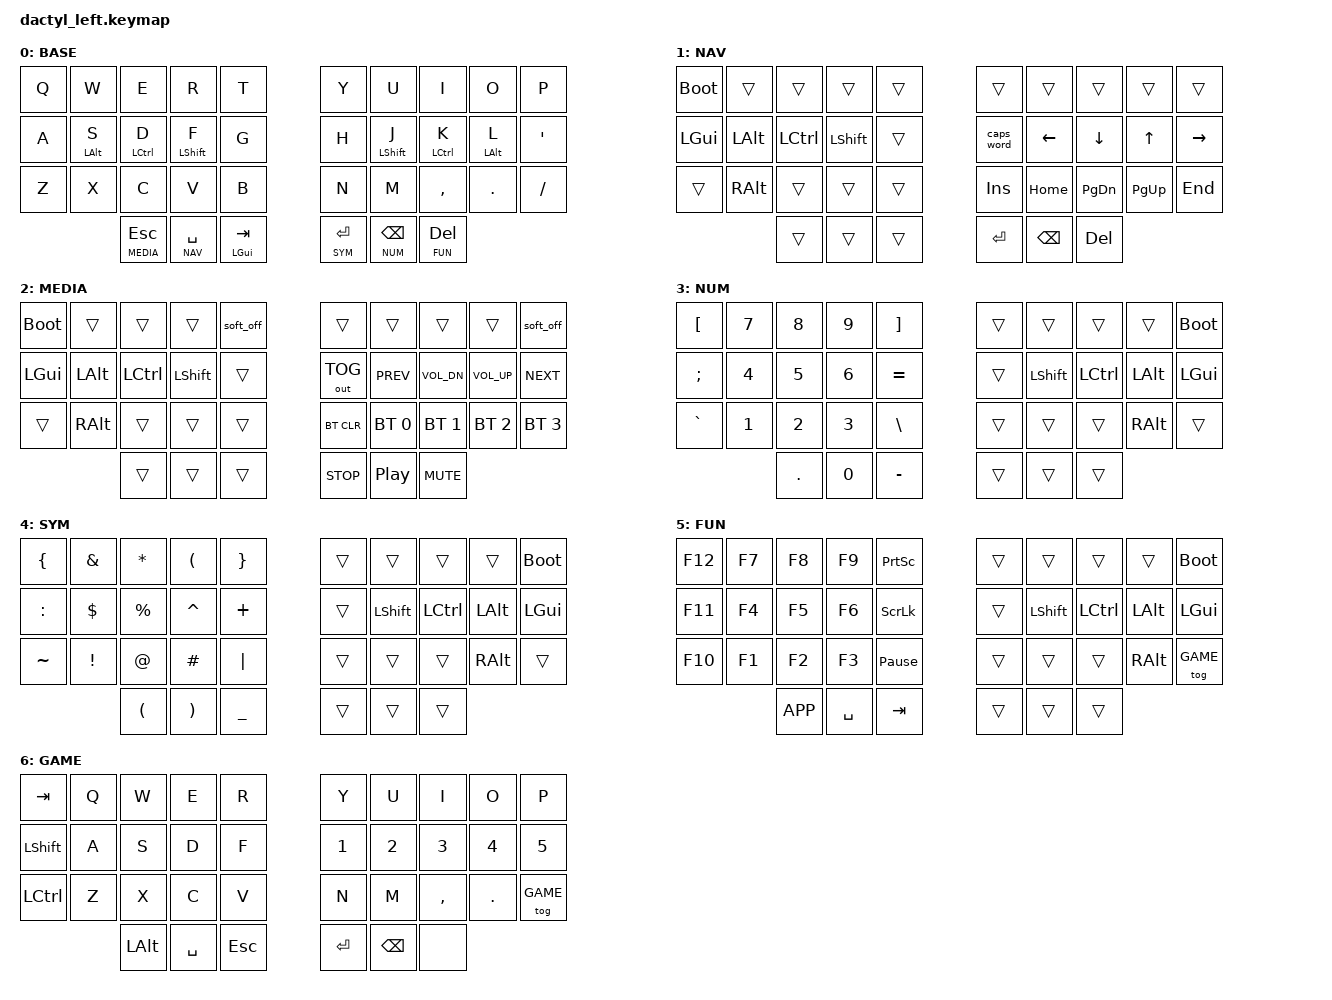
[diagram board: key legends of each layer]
#include <behaviors.dtsi>
#include <dt-bindings/zmk/keys.h>
#include <dt-bindings/zmk/bt.h>
#include <dt-bindings/zmk/outputs.h>

#define BASE  0
#define NAV   1
#define MEDIA 2
#define NUM   3
#define SYM   4
#define FUN   5
#define GAME  6

/ {
    behaviors {
        hml: homerow_mod_left {
            compatible = "zmk,behavior-hold-tap";
            #binding-cells = <2>;
            flavor = "tap-preferred";
            tapping-term-ms = <280>;
            quick-tap-ms = <175>;
            require-prior-idle-ms = <150>;
            hold-trigger-key-positions = <18 19 20 21 22 23 24 25 26 27 28 29 30 31 32 33 34 35>;
            hold-trigger-on-release;
            retro-tap;
            bindings = <&kp>, <&kp>;
        };
        hmr: homerow_mod_right {
            compatible = "zmk,behavior-hold-tap";
            #binding-cells = <2>;
            flavor = "tap-preferred";
            tapping-term-ms = <280>;
            quick-tap-ms = <175>;
            require-prior-idle-ms = <150>;
            hold-trigger-key-positions = <0 1 2 3 4 5 6 7 8 9 10 11 12 13 14 15 16 17>;
            hold-trigger-on-release;
            retro-tap;
            bindings = <&kp>, <&kp>;
        };
    };

    combos {
        compatible = "zmk,combos";
        combo_studio_unlock {
            timeout-ms = <50>;
            key-positions = <0 4>;
            bindings = <&studio_unlock>;
        };
        combo_semi {
            timeout-ms = <50>;
            key-positions = <30 31>;
            bindings = <&kp SEMI>;
        };
    };

    keymap {
        compatible = "zmk,keymap";

        default_layer {
            display-name = "BASE";
            bindings = <
                &kp Q           &kp W           &kp E           &kp R           &kp T
                &kp A           &hml LALT S     &hml LCTRL D    &hml LSHFT F    &kp G
                &kp Z           &kp X           &kp C           &kp V           &kp B
                                                &lt MEDIA ESC   &lt NAV SPACE   &mt LGUI TAB

                &kp Y           &kp U           &kp I           &kp O           &kp P
                &kp H           &hmr LSHFT J    &hmr LCTRL K    &hmr LALT L     &kp SQT
                &kp N           &kp M           &kp COMMA       &kp DOT         &kp FSLH
                &lt SYM RET     &lt NUM BSPC    &lt FUN DEL
            >;
        };

        nav_layer {
            display-name = "NAV";
            bindings = <
                &bootloader     &trans          &trans          &trans          &trans
                &kp LGUI        &kp LALT        &kp LCTRL       &kp LSHFT       &trans
                &trans          &kp RALT        &trans          &trans          &trans
                                                &trans          &trans          &trans

                &trans          &trans          &trans          &trans          &trans
                &caps_word      &kp LEFT        &kp DOWN        &kp UP          &kp RIGHT
                &kp INS         &kp HOME        &kp PG_DN       &kp PG_UP       &kp END
                &kp RET         &kp BSPC        &kp DEL
            >;
        };

        media_layer {
            display-name = "MEDIA";
            bindings = <
                &bootloader     &trans          &trans          &trans          &soft_off
                &kp LGUI        &kp LALT        &kp LCTRL       &kp LSHFT       &trans
                &trans          &kp RALT        &trans          &trans          &trans
                                                &trans          &trans          &trans

                &trans          &trans          &trans          &trans          &soft_off
                &out OUT_TOG    &kp C_PREV      &kp C_VOL_DN    &kp C_VOL_UP    &kp C_NEXT
                &bt BT_CLR      &bt BT_SEL 0    &bt BT_SEL 1    &bt BT_SEL 2    &bt BT_SEL 3
                &kp C_STOP      &kp C_PP        &kp C_MUTE
            >;
        };

        num_layer {
            display-name = "NUM";
            bindings = <
                &kp LBKT        &kp N7          &kp N8          &kp N9          &kp RBKT
                &kp SEMI        &kp N4          &kp N5          &kp N6          &kp EQUAL
                &kp GRAVE       &kp N1          &kp N2          &kp N3          &kp BSLH
                                                &kp DOT         &kp N0          &kp MINUS

                &trans          &trans          &trans          &trans          &bootloader
                &trans          &kp LSHFT       &kp LCTRL       &kp LALT        &kp LGUI
                &trans          &trans          &trans          &kp RALT        &trans
                &trans          &trans          &trans
            >;
        };

        sym_layer {
            display-name = "SYM";
            bindings = <
                &kp LBRC        &kp AMPS        &kp ASTRK       &kp LPAR        &kp RBRC
                &kp COLON       &kp DLLR        &kp PRCNT       &kp CARET       &kp PLUS
                &kp TILDE       &kp EXCL        &kp AT          &kp HASH        &kp PIPE
                                                &kp LPAR        &kp RPAR        &kp UNDER

                &trans          &trans          &trans          &trans          &bootloader
                &trans          &kp LSHFT       &kp LCTRL       &kp LALT        &kp LGUI
                &trans          &trans          &trans          &kp RALT        &trans
                &trans          &trans          &trans
            >;
        };

        fun_layer {
            display-name = "FUN";
            bindings = <
                &kp F12         &kp F7          &kp F8          &kp F9          &kp PSCRN
                &kp F11         &kp F4          &kp F5          &kp F6          &kp SLCK
                &kp F10         &kp F1          &kp F2          &kp F3          &kp PAUSE_BREAK
                                                &kp K_APP       &kp SPACE       &kp TAB

                &trans          &trans          &trans          &trans          &bootloader
                &trans          &kp LSHFT       &kp LCTRL       &kp LALT        &kp LGUI
                &trans          &trans          &trans          &kp RALT        &tog GAME
                &trans          &trans          &trans
            >;
        };

        game_layer {
            display-name = "GAME";
            bindings = <
                &kp TAB         &kp Q           &kp W           &kp E           &kp R
                &kp LSHFT       &kp A           &kp S           &kp D           &kp F
                &kp LCTRL       &kp Z           &kp X           &kp C           &kp V
                                                &kp LALT        &kp SPACE       &kp ESC

                &kp Y           &kp U           &kp I           &kp O           &kp P
                &kp N1          &kp N2          &kp N3          &kp N4          &kp N5
                &kp N           &kp M           &kp COMMA       &kp DOT         &tog GAME
                &kp RET         &kp BSPC        &none
            >;
        };
    };
};
